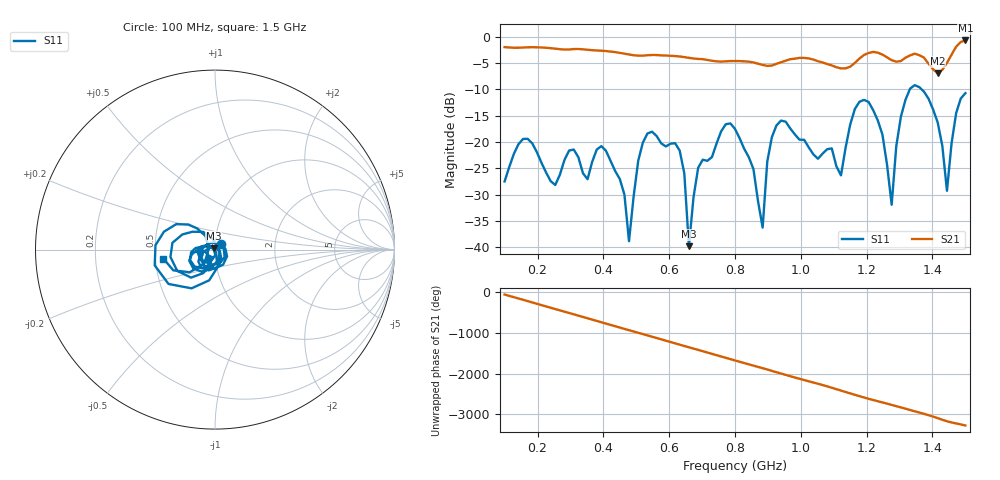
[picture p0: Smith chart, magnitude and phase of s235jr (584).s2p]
! NanoVNA-App
! Date: 2025-09-25 15:08:43
! Start: 100MHz Stop: 1,5GHz Points: 101
! S-Parameter data: F S11 S21 S12 S22
# Hz S RI R 50
!  Frequency  S11_Real  S11_Imag  S21_Real  S21_Imag  S12_Real  S12_Imag  S22_Real  S22_Imag
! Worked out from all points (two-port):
!   101 points, 100 MHz to 1.5 GHz, reference 50 ohm
!   highest |S21| = -0.70 dB at 1.5 GHz (marker M1); lowest = -7.0 dB at 1.416 GHz (marker M2)
!   |S21| within 3 dB of the highest: start of sweep to 624.5 MHz; 1.187 GHz to 1.256 GHz (69.51 MHz wide, 5.69 % of centre) (the widest 2 of 4)
!   lowest |S11| = -39.8 dB at 660 MHz (marker M3), VSWR 1.02, Z = 49.2 + j0.622 ohm
!   |S11| at or under -10 dB: start of sweep to 1.331 GHz; 1.367 GHz to end of sweep
!   S12 and S22 are empty: the file has one direction only
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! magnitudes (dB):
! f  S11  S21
! 100 MHz  -27.5  -2.0
! 156 MHz  -19.4  -2.0
! 338 MHz  -25.9  -2.4
! 408 MHz  -21.7  -2.7
! 478 MHz  -38.8  -3.4
! 520 MHz  -20.1  -3.6
! 576 MHz  -20.3  -3.5
! 632 MHz  -21.6  -3.7
! 660 MHz  -39.8  -4.0
! 688 MHz  -24.9  -4.2
! 800 MHz  -17.5  -4.6
! 884 MHz  -36.2  -5.3
! 898 MHz  -23.7  -5.5
! 926 MHz  -16.8  -5.1
! 1.038 GHz  -22.3  -4.3
! 1.122 GHz  -26.3  -6.0
! 1.206 GHz  -12.4  -3.1
! 1.276 GHz  -31.9  -4.5
! 1.332 GHz  -9.8  -3.5
! 1.416 GHz  -16.3  -7.0
! 1.444 GHz  -29.3  -5.0
! 1.5 GHz  -10.7  -0.7
